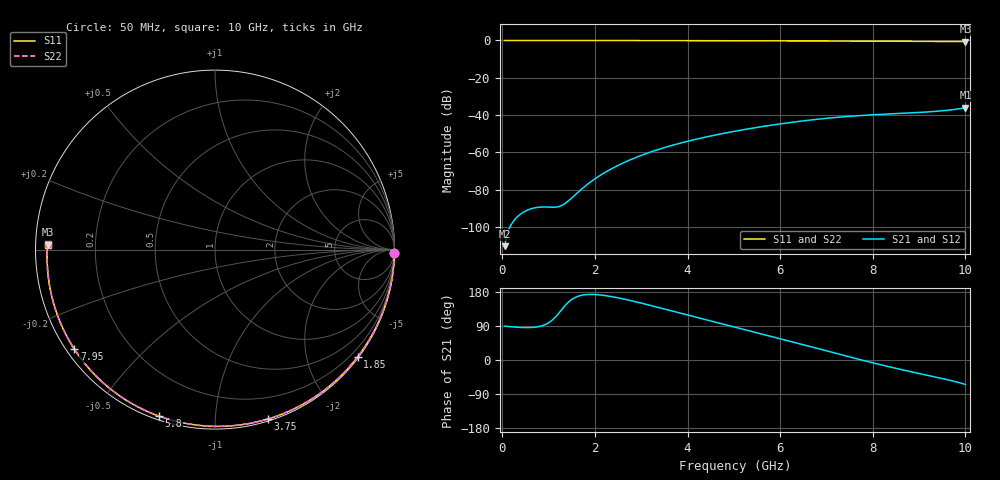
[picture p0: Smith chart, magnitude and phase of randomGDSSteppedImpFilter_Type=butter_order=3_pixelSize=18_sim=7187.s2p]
! freq	dB(S11)	phase(S11)	dB(S12)	phase(S12)
!  dB(S21)	phase(S21)	dB(S22)	phase(S22)
!S-par simulation data
#  GHz  S  DB  R 50
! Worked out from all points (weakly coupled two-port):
!   200 points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, 50 MHz to 10 GHz, reference 50 ohm
!   highest |S21| = -36.09 dB at 10 GHz (marker M1); lowest = -110.4 dB at 50 MHz (marker M2)
!   lowest |S11| = -0.6 dB at 10 GHz (marker M3), VSWR 29.08, Z = 1.72 + j0.759 ohm
!   |S11| at or under -10 dB: nowhere
!   |S22| runs from -0.6 to 0.0 dB; largest |S21 - S12| = 0
!   S11 on the Smith chart (normalised r, x): 50 MHz: open; 1.85 GHz: 0.03, -2.99; 3.75 GHz: 0.02, -1.36; 5.8 GHz: 0.02, -0.72; 7.95 GHz: 0.02, -0.32; 10 GHz: 0.03, +0.02
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0.05  -0.00 -1.0  -110.35 89.4  -110.35 89.4  -0.00 -1.0
0.45  -0.01 -9.1  -92.19 85.7  -92.19 85.7  -0.01 -9.1
0.85  -0.02 -17.2  -89.35 90.1  -89.35 90.1  -0.02 -17.2
1.7  -0.04 -34.0  -79.99 170.5  -79.99 170.5  -0.04 -34.0
1.75  -0.04 -35.0  -78.93 171.7  -78.93 171.7  -0.04 -35.0
1.85  -0.05 -37.0  -76.94 173.0  -76.94 173.0  -0.05 -37.0
2.2  -0.06 -43.8  -71.04 170.5  -71.04 170.5  -0.06 -43.8
2.55  -0.06 -50.5  -66.40 162.8  -66.40 162.8  -0.06 -50.5
2.95  -0.07 -58.0  -62.13 151.6  -62.13 151.6  -0.07 -58.0
3.4  -0.09 -66.4  -58.23 137.7  -58.23 137.7  -0.09 -66.4
3.75  -0.10 -72.8  -55.69 126.6  -55.69 126.6  -0.10 -72.8
4.4  -0.12 -84.4  -51.77 106.1  -51.77 106.1  -0.12 -84.4
5.05  -0.15 -95.7  -48.57 85.8  -48.57 85.8  -0.15 -95.7
5.8  -0.18 -108.5  -45.49 62.5  -45.49 62.5  -0.18 -108.5
6.7  -0.24 -123.7  -42.55 33.9  -42.55 33.9  -0.24 -123.7
7.35  -0.30 -134.5  -40.99 12.9  -40.99 12.9  -0.30 -134.5
7.95  -0.35 -144.7  -39.95 -5.9  -39.95 -5.9  -0.35 -144.7
8.35  -0.40 -151.5  -39.42 -17.8  -39.42 -17.8  -0.40 -151.5
8.9  -0.46 -161.2  -38.74 -33.0  -38.74 -33.0  -0.46 -161.2
9.4  -0.52 -170.3  -37.95 -46.2  -37.95 -46.2  -0.52 -170.3
9.75  -0.57 -176.9  -37.06 -56.0  -37.06 -56.0  -0.57 -176.9
10  -0.60 178.3  -36.09 -64.5  -36.09 -64.5  -0.60 178.3
